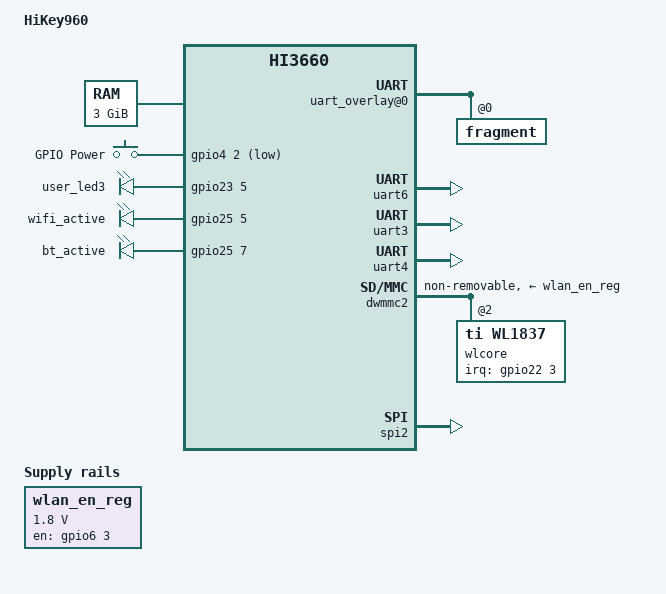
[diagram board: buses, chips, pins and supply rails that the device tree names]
/*
 * dts file for Hisilicon HiKey960 Development Board
 *
 * Copyright (C) 2016, Hisilicon Ltd.
 *
 */

/*
 *
 * Modifications made by Cadence Design Systems, Inc.  06/21/2017
 * Copyright (C) 2017 Cadence Design Systems, Inc.All rights reserved worldwide.
 *
 */

/dts-v1/;

#include "hi3660.dtsi"
#include "hi3660-ion.dtsi"
#include "hikey960-pinctrl.dtsi"
#include "hi3660-gpu.dtsi"
#include "hi3660-drm.dtsi"
#include "hisi_3660_ipc.dtsi"

#include <dt-bindings/gpio/gpio.h>
#include <dt-bindings/input/input.h>

/ {
	model = "HiKey960";
	compatible = "hisilicon,hi3660-hikey960", "hisilicon,hi3660";
	hisi,boardid = <5 3 0 0>;

	aliases {
		mshc1 = &dwmmc1;
		mshc2 = &dwmmc2;
		serial0 = &uart0;
		serial1 = &uart1;
		serial2 = &uart2;
		serial3 = &uart3;
		serial4 = &uart4;
		serial5 = &uart5;
		serial6 = &uart6;
	};

	chosen {
		stdout-path = "serial6:115200n8";
	};

	fiq-debugger {
		compatible = "android,irq-hi6220-uart";
		reg = <0x0 0xfff32000 0x0 0x1000>;
		interrupts = <GIC_SPI 79 IRQ_TYPE_LEVEL_HIGH>;
		interrupt-names = "fiq", "signal";
	};

	uart_overlay@0 {
		fragment@0 {
			target-path="/soc/uart@fff32000";
			__overlay__ {
				status = "disabled";
			};
		};
	};

	overlay_mgr {
		compatible = "linux,overlay_manager";
		hardware_cfg_spidev0 {
			overlay_0 {
				fragment@0 {
					target-path="/soc/spi@ffd68000/spidev@0";
					__overlay__ {
						status = "ok";
					};
				};
			};
		};
		hardware_cfg_neonkey {
			overlay_0 {
				fragment@0 {
					target-path="/soc/spi@ffd68000/sensorhub@0";
					__overlay__ {
						status = "ok";
					};
				};
			};
		};
		hardware_cfg_argonkey {
			overlay_0 {
				fragment@0 {
					target-path="/soc/spi@ffd68000/argonkey@0";
					__overlay__ {
						status = "ok";
					};
				};
			};
		};
	};

	memory@0 {
		device_type = "memory";
		reg = <0x0 0x00400000 0x0 0xBFE00000>;
	};


	reserved-memory {
		#address-cells = <2>;
		#size-cells = <2>;
		ranges;

		fastboot_cma:   fastboot-cma-mem {
			reg = <0x0 0x16c00000 0x0 0x4000000>;
			compatible = "shared-dma-pool";
			hisi,cma-sec;
			reusable;
		};

		bl31 {
			reg = <0x0 0x20200000 0x0 0x200000>;
			no-map;
		};

		pstore: pstore@20A00000 {
			no-map;
			reg = <0x0 0x20A00000 0x0 0x00100000>;  /* pstore/ramoops buffer */
		};

		hifi-base {
			reg = <0x0 0x89200000 0x0 0x980000>;
			no-map;
		};

		lpmx-core {
			reg = <0x0 0x89B80000 0x0 0x100000>;
			no-map;
		};

		lpmcu {
			reg = <0x0 0x89C80000 0x0 0x40000>;
			no-map;
		};

		hifi-data {
			reg = <0x0 0x8B300000 0x0 0x380000>;
			no-map;
		};
	};

	ramoops {
		compatible = "ramoops";
		memory-region = <&pstore>;
		record-size	= <0x0 0x00020000>;
		console-size	= <0x0 0x00020000>;
		ftrace-size	= <0x0 0x00020000>;
	};

	soc {
		uart6: uart@fff32000 {
			status = "ok";
		};

		ufs: ufs@ff3b0000 {
			reset-gpio = <&gpio18 1 0>;
			//vcc-supply = <&ldo15>;
		};
	};

	smmu {
		compatible = "hisi,hisi-smmu";
		phy_pgd_base = <0x0 0x34A78000>;
	};

	smmu_lpae{
		compatible = "hisi,hisi-smmu-lpae";
		status = "ok";
	};

	pmic: pmic@fff34000 {
		compatible = "hisilicon,hi6421-pmic";
		reg = <0x0 0xfff34000 0x0 0x1000>;
		interrupt-controller;
		#interrupt-cells = <2>;

		regulators {
			ldo1: LDO1 {
				regulator-compatible = "hi6421v530_ldo1";
				regulator-name = "LDO1";
				regulator-min-microvolt = <1000000>;
				regulator-max-microvolt = <1500000>;
				regulator-always-on;
				regulator-enable-ramp-delay = <120>;
			};

			ldo3: LDO3 {
				regulator-compatible = "hi6421v530_ldo3";
				regulator-name = "LDO3";
				regulator-min-microvolt = <1800000>;
				regulator-max-microvolt = <2200000>;
				regulator-always-on;
				regulator-enable-ramp-delay = <120>;
			};

			ldo4: LDO4 {
				regulator-compatible = "hi6421v530_ldo4";
				regulator-name = "LDO4";
				regulator-min-microvolt = <1700000>;
				regulator-max-microvolt = <1900000>;
				regulator-enable-ramp-delay = <120>;
			};

			ldo9: LDO9 {
				regulator-compatible = "hi6421v530_ldo9";
				regulator-name = "LDO9";
				regulator-min-microvolt = <1750000>;
				regulator-max-microvolt = <3300000>;
				regulator-enable-ramp-delay = <240>;
			};

			ldo10: LDO10 {
				regulator-compatible = "hi6421v530_ldo10";
				regulator-name = "LDO10";
				regulator-min-microvolt = <3100000>;
				regulator-max-microvolt = <3300000>;
				regulator-enable-ramp-delay = <120>;
			};

			ldo13: LDO13 {
				regulator-compatible = "hi6421v530_ldo13";
				regulator-name = "LDO13";
				regulator-min-microvolt = <1750000>;
				regulator-max-microvolt = <3300000>;
				regulator-enable-ramp-delay = <120>;
			};

			ldo15: LDO15 {
				regulator-compatible = "hi6421v530_ldo15";
				regulator-name = "LDO15";
				regulator-min-microvolt = <1750000>;
				regulator-max-microvolt = <3000000>;
				regulator-always-on;
				regulator-enable-ramp-delay = <120>;
			};

			ldo16: LDO16 {
				regulator-compatible = "hi6421v530_ldo16";
				regulator-name = "LDO16";
				regulator-min-microvolt = <1750000>;
				regulator-max-microvolt = <3000000>;
				regulator-enable-ramp-delay = <360>;
			};

			ldo17: LDO17 {
				regulator-compatible = "hi6421v530_ldo17";
				regulator-name = "LDO17";
				regulator-min-microvolt = <2600000>;
				regulator-max-microvolt = <3300000>;
				regulator-enable-ramp-delay = <120>;
			};

			ldo19: LDO19 {
				regulator-compatible = "hi6421v530_ldo19";
				regulator-name = "LDO19";
				regulator-min-microvolt = <1800000>;
				regulator-max-microvolt = <3000000>;
				regulator-enable-ramp-delay = <120>;
			};

			ldo20: LDO20 {
				regulator-compatible = "hi6421v530_ldo20";
				regulator-name = "LDO20";
				regulator-min-microvolt = <800000>;
				regulator-max-microvolt = <1320000>;
				regulator-enable-ramp-delay = <120>;
			};

			ldo24: LDO24 {
				regulator-compatible = "hi6421v530_ldo24";
				regulator-name = "LDO24";
				regulator-min-microvolt = <2600000>;
				regulator-max-microvolt = <3300000>;
				regulator-enable-ramp-delay = <120>;
			};

			ldo25: LDO25 {
				regulator-compatible = "hi6421v530_ldo25";
				regulator-name = "LDO25";
				regulator-min-microvolt = <1500000>;
				regulator-max-microvolt = <3000000>;
				regulator-enable-ramp-delay = <120>;
			};

			ldo31: LDO31 {
				regulator-compatible = "hi6421v530_ldo31";
				regulator-name = "LDO31";
				regulator-min-microvolt = <2500000>;
				regulator-max-microvolt = <3200000>;
				regulator-enable-ramp-delay = <120>;
			};

			ldo32: LDO32 {
				regulator-compatible = "hi6421v530_ldo32";
				regulator-name = "LDO32";
				regulator-min-microvolt = <800000>;
				regulator-max-microvolt = <1320000>;
				regulator-enable-ramp-delay = <120>;
			};
		};
	};

	/* bluetooth - TI WL1837 */
	kim {
		compatible = "kim";
		pinctrl-names = "default";
		pinctrl-0 = <&uart4_pmx_func &uart4_cfg_func>;
		/*
		 * FIXME: The following is complete CRAP since
		 * the vendor driver doesn't follow the gpio
		 * binding. Passing in a magic Linux gpio number
		 * here until we fix the vendor driver.
		 */
		/* BT_EN: GPIO_126_BT_EN */
		nshutdown_gpio = <390>;
		dev_name = "/dev/ttyAMA4";
		flow_cntrl = <1>;
		baud_rate = <3000000>;
	};

	btwilink {
		compatible = "btwilink";
	};

	/* power control mechanism for WLAN_EN */
	wlan_en_reg: fixedregulator@1 {
		compatible = "regulator-fixed";
		regulator-name = "wlan-en-regulator";
		regulator-min-microvolt = <1800000>;
		regulator-max-microvolt = <1800000>;

		/* WLAN_EN GPIO for this board - GPIO_051_WIFI_EN */
		gpio = <&gpio6 3 0>;

		/* WLAN card specific delay */
		startup-delay-us = <70000>;
		enable-active-high;
	};

	keys: gpio-keys {
		compatible = "gpio-keys";
		pinctrl-names = "default";
		pinctrl-0 = <&pwr_key_pmx_func &pwr_key_cfg_func>;

		power {
			wakeup-source;
			gpios = <&gpio4 2 GPIO_ACTIVE_LOW>;
			label = "GPIO Power";
			linux,code = <KEY_POWER>;
		};
	};

	leds {
		compatible = "gpio-leds";

		user_led1 {
			label = "user_led1";
			/* gpio_150_user_led1 */
			gpios = <&gpio18 6 0>;
			linux,default-trigger = "heartbeat";
			status = "disabled";
		};

		user_led2 {
			label = "user_led2";
			/* gpio_151_user_led2 */
			gpios = <&gpio18 7 0>;
			linux,default-trigger = "mmc0";
			status = "disabled";
		};

		user_led3 {
			label = "user_led3";
			/* gpio_189_user_led3 */
			gpios = <&gpio23 5 0>;
			default-state = "off";
		};

		user_led4 {
			label = "user_led4";
			/* gpio_190_user_led4 */
			gpios = <&gpio23 6 0>;
			linux,default-trigger = "cpu0";
			status = "disabled";
		};

		wlan_active_led {
			label = "wifi_active";
			/* gpio_205_wifi_active */
			gpios = <&gpio25 5 0>;
			linux,default-trigger = "phy0tx";
			default-state = "off";
		};

		bt_active_led {
			label = "bt_active";
			gpios = <&gpio25 7 0>;
			/* gpio_207_user_led1 */
			linux,default-trigger = "hci0rx";
			default-state = "off";
		};
	};

	pclk: apb_pclk {
		compatible = "fixed-clock";
		#clock-cells = <0>;
		clock-frequency = <20000000>;
		clock-output-names = "apb_pclk";
	};

	hifidsp {
		compatible = "hisilicon,k3hifidsp";
	};
};

&uart3 {
	status = "ok";
};

&uart4 {
	status = "ok";
};

&dwmmc2 { /* WIFI */
	broken-cd;
	/* WL_EN */
	vmmc-supply = <&wlan_en_reg>;
	ti,non-removable;
	non-removable;
	#address-cells = <0x1>;
	#size-cells = <0x0>;
	status = "ok";

	wlcore: wlcore@2 {
		compatible = "ti,wl1837";
		reg = <2>;      /* sdio func num */
		/* WL_IRQ, GPIO_179_WL_WAKEUP_AP */
		interrupt-parent = <&gpio22>;
		interrupts = <3 1>; /* IRQ_TYPE_EDGE_RISING */
	};
};

&spi2 {
	/* On Low speed expansion */
	label = "LS-SPI0";
	status = "okay";

	spidev@0 {
		compatible = "rohm,dh2228fv";
		spi-max-frequency = <500000>;
		reg = <0>;
		status = "disabled";
	};

	sensorhub@0 {
		compatible = "nanohub";
		reg = <0>;
		spi-max-frequency = <500000>;
		spi-cpol;
		spi-cpha;

		sensorhub,nreset-gpio = <&gpio26 3 0>; /* Fake */
		sensorhub,boot0-gpio = <&gpio26 2 0>;  /* Fake */
		sensorhub,wakeup-gpio = <&gpio26 0 0>; /* Gpio_208 -> PB9 */
		sensorhub,irq1-gpio = <&gpio26 1 0>;   /* Gpio_209 -> PB5 */
		sensorhub,spi-cs-gpio = <&gpio27 2 0>;
		sensorhub,bl-addr = <0x08000000>;
		sensorhub,kernel-addr = <0x0800C000>;
		sensorhub,num-flash-banks = <4>;
		sensorhub,flash-banks =		<0 0x08000000 0x04000>,
						<3 0x0800C000 0x04000>,
						<4 0x08010000 0x10000>,
						<5 0x08020000 0x20000>;
		sensorhub,shared-addr = <0x08040000>;
		sensorhub,num-shared-flash-banks = <2>;
		sensorhub,shared-flash-banks =	<6 0x08040000 0x20000>,
						<7 0x08060000 0x20000>;

		status = "disabled";
	};

	argonkey@0 {
		compatible = "nanohub";
		reg = <0>;
		spi-max-frequency = <500000>;

		sensorhub,irq1-gpio = <&gpio26 0 0>;   /* Gpio_208 -> PA1 */
		sensorhub,irq2-gpio = <&gpio6 4 0>;    /* Gpio_052 -> PA3 */
		sensorhub,wakeup-gpio = <&gpio2 3 0>;  /* Gpio_019 -> PA0 */
		sensorhub,spi-cs-gpio = <&gpio27 2 0>; /* Gpio_218 */
		sensorhub,nreset-gpio = <&gpio26 3 0>; /* Gpio_211 -> Nreset */
		sensorhub,boot0-gpio = <&gpio5 0 0>;   /* Gpio_040 -> Boot0 */
		sensorhub,bl-addr = <0x08000000>;
		sensorhub,kernel-addr = <0x0800C000>;
		sensorhub,num-flash-banks = <4>;
		sensorhub,flash-banks =
			<0 0x08000000 0x04000>,
			<3 0x0800C000 0x04000>,
			<4 0x08010000 0x10000>,
			<5 0x08020000 0x20000>;
		sensorhub,shared-addr = <0x08040000>;
		sensorhub,num-shared-flash-banks = <6>;
		sensorhub,shared-flash-banks =
			<6 0x08040000 0x20000>,
			<7 0x08060000 0x20000>,
			<8 0x08080000 0x20000>,
			<9 0x080A0000 0x20000>,
			<10 0x080C0000 0x20000>,
			<11 0x080E0000 0x20000>;

		status = "disabled";
	};
};
